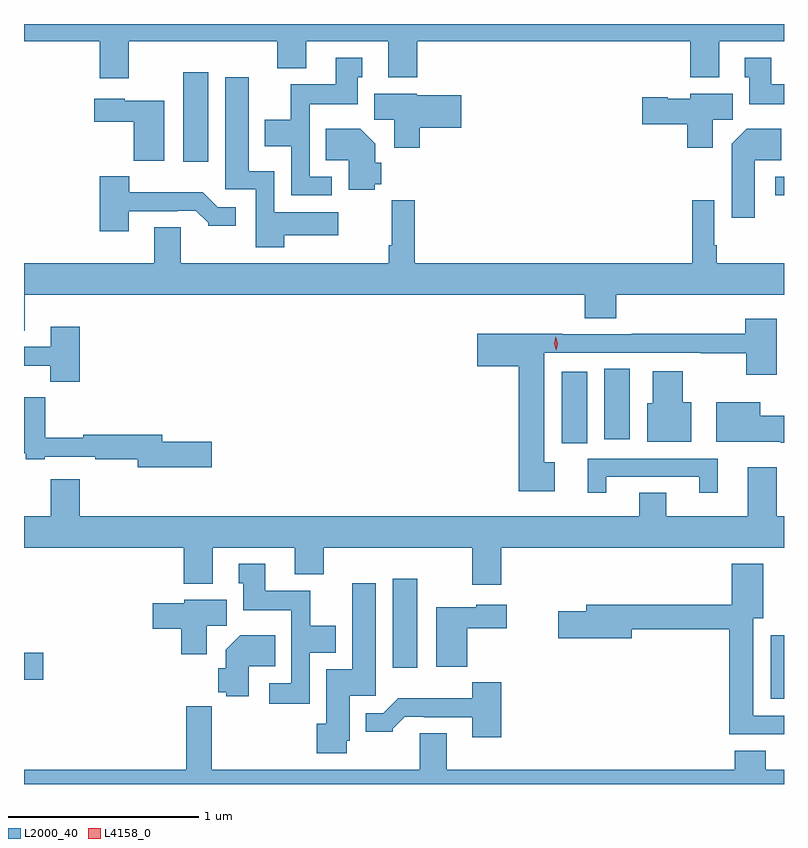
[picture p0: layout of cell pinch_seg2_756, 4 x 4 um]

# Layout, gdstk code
import gdstk
lib = gdstk.Library(unit=1e-6, precision=1e-09)
def R(c, l, rs):  # rectangles x0, y0, x1, y1
    for r in rs: c.add(gdstk.rectangle(r[:2], r[2:], *l))
def P(c, l, *ps):  # polygons
    for p in ps: c.add(gdstk.Polygon(p, *l))
L2000_40 = (2000, 40)
L4158_0 = (4158, 0)

pinch_seg2_756 = lib.new_cell('pinch_seg2_756')
R(pinch_seg2_756, L2000_40, [(686.378,650.837,686.449,651.172), (682.449,650.938,682.549,651.08), (684.389,651,684.52,651.469), (685.28,652.182,685.414,652.558), (685.502,652.203,685.636,652.574), (686.403,653.487,686.449,653.583), (683.288,653.664,683.419,654.133)])
P(pinch_seg2_756, L2000_40, [(682.999,654.296),(683.783,654.296),(683.783,654.155),(683.935,654.155),(683.935,654.296),(684.365,654.296),(684.365,654.107),(684.518,654.107),(684.518,654.296),(685.955,654.296),(685.955,654.107),(686.107,654.107),(686.107,654.296),(686.449,654.296),(686.449,654.388),(682.449,654.388),(682.449,654.296),(682.847,654.296),(682.847,654.102),(682.999,654.102)],
  [(686.449,654.07),(686.383,654.07),(686.383,654.211),(686.243,654.211),(686.243,654.108),(686.267,654.108),(686.267,653.966),(686.449,653.966)],
  [(684.07,653.583),(683.952,653.583),(683.952,653.966),(684.205,653.966),(684.205,654.108),(684.229,654.108),(684.229,654.211),(684.089,654.211),(684.089,654.07),(683.854,654.07),(683.854,653.884),(683.717,653.884),(683.717,653.744),(683.856,653.744),(683.856,653.487),(684.07,653.487)],
  [(683.819,653.276),(684.103,653.276),(684.103,653.398),(683.766,653.398),(683.766,653.614),(683.632,653.614),(683.632,654.109),(683.507,654.109),(683.507,653.517),(683.67,653.517),(683.67,653.214),(683.819,653.214)],
  [(684.533,653.843),(684.751,653.843),(684.751,654.013),(684.516,654.013),(684.516,654.022),(684.293,654.022),(684.293,653.884),(684.398,653.884),(684.398,653.736),(684.533,653.736)],
  [(686.074,653.884),(686.179,653.884),(686.179,654.022),(685.956,654.022),(685.956,653.995),(685.836,653.995),(685.836,654.003),(685.704,654.003),(685.704,653.861),(685.94,653.861),(685.94,653.736),(686.074,653.736)],
  [(683.188,653.983),(682.98,653.983),(682.98,653.995),(682.818,653.995),(682.818,653.873),(683.026,653.873),(683.026,653.669),(683.188,653.669)],
  [(686.296,653.672),(686.435,653.672),(686.435,653.836),(686.252,653.836),(686.174,653.758),(686.174,653.367),(686.296,653.367)],
  [(684.294,653.544),(684.329,653.544),(684.329,653.658),(684.298,653.658),(684.298,653.758),(684.22,653.836),(684.037,653.836),(684.037,653.672),(684.158,653.672),(684.158,653.515),(684.294,653.515)],
  [(682.999,653.403),(683.255,653.403),(683.255,653.406),(683.354,653.406),(683.418,653.342),(683.418,653.327),(683.563,653.327),(683.563,653.424),(683.469,653.424),(683.391,653.503),(683.002,653.503),(683.002,653.587),(682.847,653.587),(682.847,653.298),(682.999,653.298)],
  [(682.453,652.964),(685.4,652.964),(685.4,652.84),(685.565,652.84),(685.565,652.964),(686.449,652.964),(686.449,653.128),(686.095,653.128),(686.095,653.224),(686.082,653.224),(686.082,653.461),(685.966,653.461),(685.966,653.128),(684.506,653.128),(684.506,653.461),(684.385,653.461),(684.385,653.224),(684.37,653.224),(684.37,653.128),(683.275,653.128),(683.275,653.318),(683.135,653.318),(683.135,653.128),(682.449,653.128),(682.449,652.774),(682.453,652.774)],
  [(685.243,652.082),(685.186,652.082),(685.186,652.659),(686.011,652.659),(686.011,652.654),(686.251,652.654),(686.251,652.542),(686.411,652.542),(686.411,652.837),(686.246,652.837),(686.246,652.757),(685.648,652.757),(685.648,652.755),(685.282,652.755),(685.282,652.757),(684.834,652.757),(684.834,652.586),(685.052,652.586),(685.052,651.929),(685.243,651.929)],
  [(682.742,652.795),(682.589,652.795),(682.589,652.689),(682.449,652.689),(682.449,652.59),(682.587,652.59),(682.587,652.505),(682.742,652.505)],
  [(685.96,652.396),(685.915,652.396),(685.915,652.561),(685.757,652.561),(685.757,652.392),(685.73,652.392),(685.73,652.19),(685.96,652.19)],
  [(683.437,652.19),(683.176,652.19),(683.176,652.226),(682.76,652.226),(682.76,652.211),(682.562,652.211),(682.562,652.423),(682.449,652.423),(682.449,652.13),(682.458,652.13),(682.458,652.098),(682.558,652.098),(682.558,652.11),(682.825,652.11),(682.825,652.098),(683.048,652.098),(683.048,652.055),(683.437,652.055)],
  [(686.449,652.325),(686.323,652.325),(686.323,652.396),(686.093,652.396),(686.093,652.19),(686.432,652.19),(686.432,652.183),(686.449,652.183)],
  [(685.513,652.005),(686.003,652.005),(686.003,651.921),(686.101,651.921),(686.101,652.101),(685.415,652.101),(685.415,651.921),(685.513,651.921)],
  [(684.962,651.632),(686.449,651.632),(686.449,651.796),(686.411,651.796),(686.411,652.054),(686.258,652.054),(686.258,651.796),(685.828,651.796),(685.828,651.92),(685.688,651.92),(685.688,651.796),(682.742,651.796),(682.742,651.991),(682.589,651.991),(682.589,651.796),(682.449,651.796),(682.449,651.632),(683.291,651.632),(683.291,651.443),(683.443,651.443),(683.443,651.632),(683.873,651.632),(683.873,651.491),(684.026,651.491),(684.026,651.632),(684.809,651.632),(684.809,651.438),(684.962,651.438)],
  [(683.952,651.08),(684.091,651.08),(684.091,651.22),(683.955,651.22),(683.955,651.406),(683.719,651.406),(683.719,651.547),(683.579,651.547),(683.579,651.444),(683.603,651.444),(683.603,651.302),(683.856,651.302),(683.856,650.919),(683.739,650.919),(683.739,650.811),(683.952,650.811)],
  [(686.449,650.748),(686.287,650.748),(686.287,651.26),(686.341,651.26),(686.341,651.547),(686.174,651.547),(686.174,651.331),(685.409,651.331),(685.409,651.297),(685.26,651.297),(685.26,651.155),(685.648,651.155),(685.648,651.202),(686.162,651.202),(686.162,650.651),(686.449,650.651)],
  [(684.147,650.616),(684.163,650.616),(684.163,650.853),(684.301,650.853),(684.301,651.445),(684.176,651.445),(684.176,650.992),(684.041,650.992),(684.041,650.706),(683.99,650.706),(683.99,650.55),(684.147,650.55)],
  [(683.41,651.22),(683.515,651.22),(683.515,651.358),(683.292,651.358),(683.292,651.34),(683.127,651.34),(683.127,651.206),(683.276,651.206),(683.276,651.072),(683.41,651.072)],
  [(684.782,651.209),(684.991,651.209),(684.991,651.331),(684.828,651.331),(684.828,651.319),(684.62,651.319),(684.62,651.005),(684.782,651.005)],
  [(683.632,651.008),(683.771,651.008),(683.771,651.172),(683.588,651.172),(683.51,651.094),(683.51,650.998),(683.472,650.998),(683.472,650.87),(683.514,650.87),(683.514,650.851),(683.632,650.851)],
  [(684.962,650.923),(684.807,650.923),(684.807,650.839),(684.418,650.839),(684.339,650.76),(684.248,650.76),(684.248,650.663),(684.39,650.663),(684.39,650.678),(684.454,650.742),(684.553,650.742),(684.553,650.739),(684.809,650.739),(684.809,650.634),(684.962,650.634)],
  [(686.449,650.464),(686.354,650.464),(686.354,650.563),(686.189,650.563),(686.189,650.464),(684.673,650.464),(684.673,650.654),(684.533,650.654),(684.533,650.464),(683.438,650.464),(683.438,650.684),(683.437,650.684),(683.437,650.797),(683.302,650.797),(683.302,650.464),(682.449,650.464),(682.449,650.388),(686.449,650.388)])
P(pinch_seg2_756, L4158_0, [(685.25,652.67),(685.25,652.67),(685.239,652.706),(685.247,652.742),(685.248,652.742),(685.248,652.742),(685.259,652.706),(685.25,652.67)])

lib.write_gds('pinch_seg2_756.gds')
